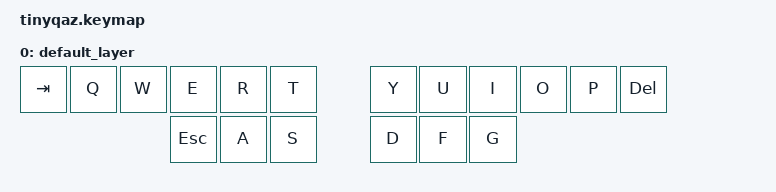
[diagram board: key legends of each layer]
#include <behaviors.dtsi>
#include <dt-bindings/zmk/keys.h>

/ {
	keymap {
		compatible = "zmk,keymap";

		default_layer {
// -----------------------------------------------------------------------------------------
// |  TAB  |  Q   |  W   |  E   |  R   |  T   |   Y   |  U    |  I   |  O   |   P   | BSPC  |
// |  ESC  |  A   |  S   |  D   |  F   |  G   |   H   |  J    |  K   |  L   |   ;   |  '    |
// | SHIFT |  Z   |  X   |  C   |  V   |  B   |   N   |  M    |  ,   |  .   |   /   |  RET  |
// | FN    | LGUI | LALT | LCTL | LOWR |     SPACE    |  RAIS | LARW | DARW | UARW  |  RARW |
			bindings = <
	&kp TAB   &kp Q    &kp W    &kp E     &kp R  &kp T  &kp Y     &kp U  &kp I     &kp O    &kp P    &kp DEL
	&kp ESC   &kp A    &kp S    &kp D     &kp F  &kp G
			>;
		};
	};
};
